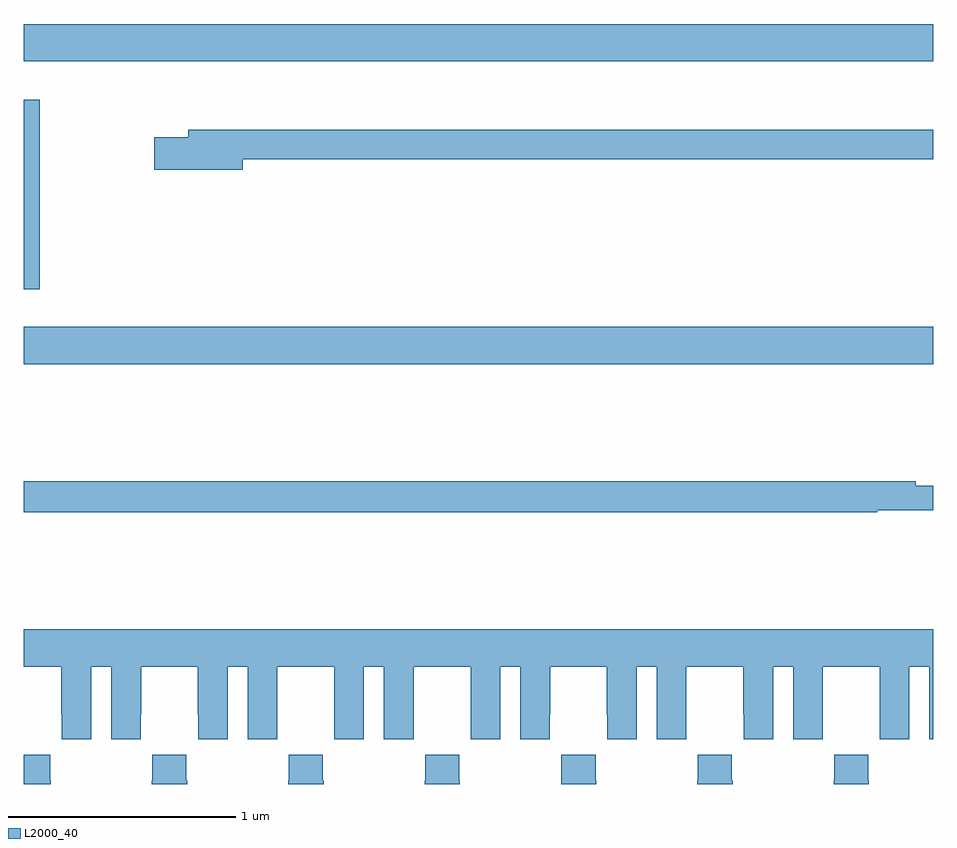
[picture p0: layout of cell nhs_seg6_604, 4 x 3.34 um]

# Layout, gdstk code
import gdstk
lib = gdstk.Library(unit=1e-6, precision=1e-09)
def R(c, l, rs):  # rectangles x0, y0, x1, y1
    for r in rs: c.add(gdstk.rectangle(r[:2], r[2:], *l))
def P(c, l, *ps):  # polygons
    for p in ps: c.add(gdstk.Polygon(p, *l))
L2000_40 = (2000, 40)

nhs_seg6_604 = lib.new_cell('nhs_seg6_604')
R(nhs_seg6_604, L2000_40, [(149,935.348,153,935.512), (149,935.676,149.069,936.511), (149,936.68,153,936.844)])
P(nhs_seg6_604, L2000_40, [(149.962,936.25),(153,936.25),(153,936.379),(149.723,936.379),(149.723,936.345),(149.574,936.345),(149.574,936.203),(149.962,936.203)],
  [(152.755,934.704),(153,934.704),(153,934.813),(152.924,934.813),(152.924,934.832),(149,934.832),(149,934.696),(152.755,934.696)],
  [(149,934.016),(149.165,934.016),(149.165,933.808),(149.166,933.808),(149.166,933.696),(149.296,933.696),(149.296,934.016),(149.384,934.016),(149.384,933.696),(149.514,933.696),(149.514,933.808),(149.515,933.808),(149.515,934.016),(149.765,934.016),(149.765,933.808),(149.766,933.808),(149.766,933.696),(149.896,933.696),(149.896,934.016),(149.984,934.016),(149.984,933.696),(150.114,933.696),(150.114,933.808),(150.115,933.808),(150.115,934.016),(150.365,934.016),(150.365,933.808),(150.366,933.808),(150.366,933.696),(150.496,933.696),(150.496,934.016),(150.584,934.016),(150.584,933.696),(150.714,933.696),(150.714,933.808),(150.715,933.808),(150.715,934.016),(150.965,934.016),(150.965,933.808),(150.966,933.808),(150.966,933.696),(151.096,933.696),(151.096,934.016),(151.184,934.016),(151.184,933.696),(151.314,933.696),(151.314,933.808),(151.315,933.808),(151.315,934.016),(151.565,934.016),(151.565,933.808),(151.566,933.808),(151.566,933.696),(151.696,933.696),(151.696,934.016),(151.784,934.016),(151.784,933.696),(151.914,933.696),(151.914,933.808),(151.915,933.808),(151.915,934.016),(152.165,934.016),(152.165,933.808),(152.166,933.808),(152.166,933.696),(152.296,933.696),(152.296,934.016),(152.384,934.016),(152.384,933.696),(152.514,933.696),(152.514,933.808),(152.515,933.808),(152.515,934.016),(152.765,934.016),(152.765,933.808),(152.766,933.808),(152.766,933.696),(152.896,933.696),(152.896,934.016),(152.984,934.016),(152.984,933.696),(153,933.696),(153,934.18),(149,934.18)],
  [(152.718,933.515),(152.715,933.515),(152.715,933.628),(152.565,933.628),(152.565,933.515),(152.563,933.515),(152.563,933.5),(152.718,933.5)],
  [(152.118,933.515),(152.115,933.515),(152.115,933.628),(151.965,933.628),(151.965,933.515),(151.963,933.515),(151.963,933.5),(152.118,933.5)],
  [(151.518,933.515),(151.515,933.515),(151.515,933.628),(151.365,933.628),(151.365,933.515),(151.363,933.515),(151.363,933.5),(151.518,933.5)],
  [(150.918,933.515),(150.915,933.515),(150.915,933.628),(150.765,933.628),(150.765,933.515),(150.763,933.515),(150.763,933.5),(150.918,933.5)],
  [(150.318,933.515),(150.315,933.515),(150.315,933.628),(150.165,933.628),(150.165,933.515),(150.163,933.515),(150.163,933.5),(150.318,933.5)],
  [(149.718,933.515),(149.715,933.515),(149.715,933.628),(149.565,933.628),(149.565,933.515),(149.563,933.515),(149.563,933.5),(149.718,933.5)],
  [(149,933.628),(149,933.5),(149.118,933.5),(149.118,933.515),(149.115,933.515),(149.115,933.628)])

lib.write_gds('nhs_seg6_604.gds')
